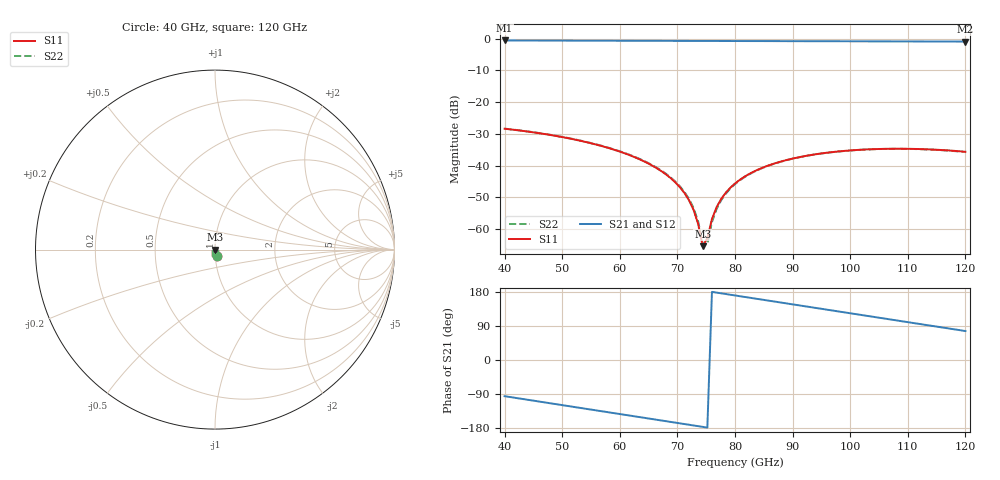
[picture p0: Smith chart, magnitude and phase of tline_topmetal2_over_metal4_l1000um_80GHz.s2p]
#  GHZ S DB R 50
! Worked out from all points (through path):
!   101 points, 40 GHz to 120 GHz, reference 50 ohm
!   highest |S21| = -0.54 dB at 40 GHz (marker M1); lowest = -0.9 dB at 120 GHz (marker M2)
!   group delay of S21, straight-line fit = 6.53 ps
!   lowest |S11| = -65.4 dB at 74.4 GHz (marker M3), VSWR 1.00, Z = 50 - j0.0537 ohm
!   |S11| at or under -10 dB: start of sweep to end of sweep
!   |S22| runs from -64.8 to -28.3 dB; largest |S21 - S12| = 1.1e-14
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40  -28.37 -70.4  -0.54 -95.5  -0.54 -95.5  -28.33 -70.5
46.4  -29.88 -85.5  -0.57 -110.6  -0.57 -110.6  -29.83 -85.7
53.6  -32.34 -102.4  -0.60 -127.5  -0.60 -127.5  -32.27 -102.7
61.6  -36.62 -120.8  -0.64 -146.4  -0.64 -146.4  -36.51 -121.3
67.2  -41.71 -132.9  -0.66 -159.5  -0.66 -159.5  -41.53 -133.6
69.6  -45.20 -137.0  -0.67 -165.2  -0.67 -165.2  -44.95 -138.0
72  -50.86 -138.3  -0.69 -170.8  -0.69 -170.8  -50.43 -140.2
72.8  -53.90 -136.3  -0.69 -172.7  -0.69 -172.7  -53.33 -139.1
73.6  -58.37 -128.9  -0.69 -174.6  -0.69 -174.6  -57.56 -134.1
74.4  -65.38 -94.1  -0.70 -176.5  -0.70 -176.5  -64.73 -109.9
75.2  -62.85 -15.3  -0.70 -178.4  -0.70 -178.4  -64.80 -19.9
76  -56.83 4.0  -0.70 179.8  -0.70 179.8  -57.77 4.3
76.8  -53.10 8.7  -0.71 177.9  -0.71 177.9  -53.67 9.3
78.4  -48.52 9.9  -0.71 174.1  -0.71 174.1  -48.83 10.3
80  -45.62 8.0  -0.72 170.4  -0.72 170.4  -45.82 8.3
82.4  -42.68 3.7  -0.73 164.7  -0.73 164.7  -42.81 3.8
85.6  -40.08 -3.1  -0.74 157.2  -0.74 157.2  -40.16 -3.1
93.6  -36.53 -21.4  -0.78 138.4  -0.78 138.4  -36.55 -21.5
100.8  -35.10 -38.3  -0.81 121.5  -0.81 121.5  -35.12 -38.4
107.2  -34.68 -53.2  -0.84 106.5  -0.84 106.5  -34.70 -53.4
113.6  -34.87 -68.1  -0.86 91.4  -0.86 91.4  -34.91 -68.2
120  -35.63 -82.7  -0.89 76.4  -0.89 76.4  -35.71 -82.7
